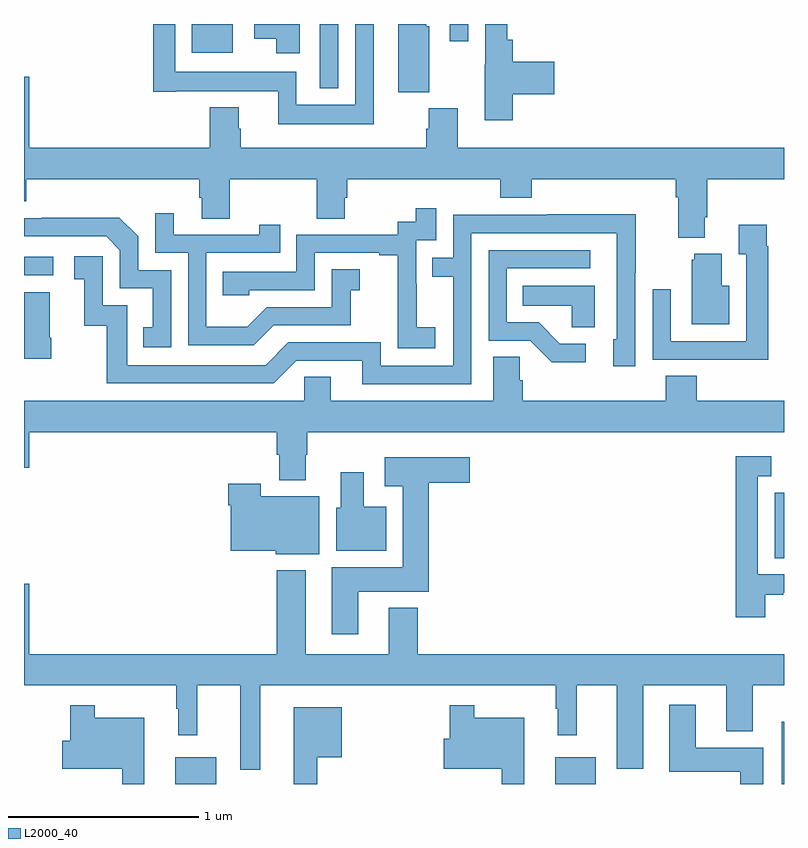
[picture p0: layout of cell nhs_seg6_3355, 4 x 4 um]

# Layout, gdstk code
import gdstk
lib = gdstk.Library(unit=1e-6, precision=1e-09)
def R(c, l, rs):  # rectangles x0, y0, x1, y1
    for r in rs: c.add(gdstk.rectangle(r[:2], r[2:], *l))
def P(c, l, *ps):  # polygons
    for p in ps: c.add(gdstk.Polygon(p, *l))
L2000_40 = (2000, 40)

nhs_seg6_3355 = lib.new_cell('nhs_seg6_3355')
R(nhs_seg6_3355, L2000_40, [(309.797,929.5,310.012,929.641), (311.795,929.5,312.01,929.641), (312.987,929.5,313,929.827), (312.95,930.688,313,931.032), (309,932.178,309.154,932.274), (310.557,933.161,310.653,933.5), (309.884,933.35,310.099,933.5), (311.241,933.408,311.337,933.5)])
P(nhs_seg6_3355, L2000_40, [(310.45,933.5),(310.211,933.5),(310.211,933.422),(310.328,933.422),(310.328,933.345),(310.45,933.345)],
  [(311.134,933.489),(311.116,933.489),(311.116,933.5),(310.97,933.5),(310.97,933.142),(311.134,933.142)],
  [(311.573,933.131),(311.791,933.131),(311.791,933.302),(311.573,933.302),(311.573,933.418),(311.543,933.418),(311.543,933.5),(311.427,933.5),(311.427,933.285),(311.426,933.285),(311.426,932.994),(311.573,932.994)],
  [(310.84,933.5),(310.743,933.5),(310.743,933.076),(310.434,933.076),(310.434,933.25),(309.795,933.25),(309.795,933.5),(309.679,933.5),(309.679,933.144),(309.802,933.144),(309.802,933.146),(310.337,933.146),(310.337,932.972),(310.84,932.972)],
  [(312.583,932.482),(312.596,932.482),(312.596,932.684),(313,932.684),(313,932.848),(311.282,932.848),(311.282,933.057),(311.129,933.057),(311.129,932.948),(311.117,932.948),(311.117,932.848),(310.142,932.848),(310.142,932.949),(310.129,932.949),(310.129,933.061),(309.977,933.061),(309.977,932.848),(309.028,932.848),(309.028,933.223),(309,933.223),(309,932.567),(309.011,932.567),(309.011,932.684),(309.923,932.684),(309.923,932.586),(309.935,932.586),(309.935,932.476),(310.083,932.476),(310.083,932.684),(310.54,932.684),(310.54,932.476),(310.687,932.476),(310.687,932.586),(310.7,932.586),(310.7,932.684),(311.507,932.684),(311.507,932.585),(311.672,932.585),(311.672,932.684),(312.431,932.684),(312.431,932.588),(312.443,932.588),(312.443,932.375),(312.583,932.375)],
  [(311.164,931.903),(311.066,931.903),(311.066,932.132),(311.064,932.132),(311.064,932.361),(311.169,932.361),(311.169,932.53),(311.061,932.53),(311.061,932.46),(310.968,932.46),(310.968,932.391),(310.434,932.391),(310.434,932.196),(310.045,932.196),(310.045,932.073),(310.185,932.073),(310.185,932.1),(310.53,932.1),(310.53,932.295),(310.871,932.295),(310.871,932.283),(310.967,932.283),(310.967,931.999),(310.966,931.999),(310.966,931.793),(311.164,931.793)],
  [(310.315,931.914),(310.719,931.914),(310.719,932.099),(310.768,932.099),(310.768,932.209),(310.62,932.209),(310.62,932.01),(310.278,932.01),(310.174,931.906),(309.96,931.906),(309.96,932.295),(310.349,932.295),(310.349,932.443),(310.238,932.443),(310.238,932.391),(309.787,932.391),(309.787,932.503),(309.69,932.503),(309.69,932.295),(309.864,932.295),(309.864,931.809),(310.21,931.809)],
  [(311.355,932.4),(312.12,932.4),(312.12,931.842),(312.101,931.842),(312.101,931.698),(312.216,931.698),(312.216,932.191),(312.219,932.191),(312.219,932.498),(311.755,932.498),(311.755,932.496),(311.259,932.496),(311.259,932.271),(311.149,932.271),(311.149,932.17),(311.259,932.17),(311.259,931.701),(310.878,931.701),(310.878,931.824),(310.392,931.824),(310.272,931.704),(309.543,931.704),(309.543,932.019),(309.414,932.019),(309.414,932.278),(309.264,932.278),(309.264,932.157),(309.317,932.157),(309.317,931.911),(309.435,931.911),(309.435,931.608),(310.314,931.608),(310.434,931.728),(310.781,931.728),(310.781,931.605),(311.355,931.605)],
  [(309.774,932.205),(309.6,932.205),(309.6,932.382),(309.502,932.48),(309.094,932.48),(309.094,932.478),(309,932.478),(309,932.382),(309.432,932.382),(309.504,932.31),(309.504,932.109),(309.677,932.109),(309.677,931.905),(309.628,931.905),(309.628,931.8),(309.774,931.8)],
  [(312.917,932.33),(312.91,932.33),(312.91,932.443),(312.761,932.443),(312.761,932.287),(312.801,932.287),(312.801,931.83),(312.405,931.83),(312.405,932.104),(312.309,932.104),(312.309,931.734),(312.625,931.734),(312.625,931.733),(312.917,931.733)],
  [(311.956,931.818),(311.821,931.818),(311.71,931.929),(311.541,931.929),(311.541,932.214),(311.98,932.214),(311.98,932.31),(311.445,932.31),(311.445,931.833),(311.664,931.833),(311.777,931.721),(311.956,931.721)],
  [(312.712,932.122),(312.673,932.122),(312.673,932.29),(312.527,932.29),(312.527,932.259),(312.515,932.259),(312.515,931.919),(312.712,931.919)],
  [(312.004,932.122),(311.626,932.122),(311.626,932.018),(311.883,932.018),(311.883,931.903),(312.004,931.903)],
  [(309.144,931.849),(309.136,931.849),(309.136,932.089),(309,932.089),(309,931.737),(309.144,931.737)],
  [(310.483,931.232),(310.491,931.232),(310.491,931.352),(313,931.352),(313,931.516),(312.542,931.516),(312.542,931.649),(312.377,931.649),(312.377,931.516),(311.624,931.516),(311.624,931.625),(311.61,931.625),(311.61,931.748),(311.471,931.748),(311.471,931.516),(310.615,931.516),(310.615,931.643),(310.476,931.643),(310.476,931.516),(309,931.516),(309,931.164),(309.028,931.164),(309.028,931.352),(310.331,931.352),(310.331,931.232),(310.343,931.232),(310.343,931.1),(310.483,931.1)],
  [(312.901,930.495),(312.997,930.495),(312.997,930.507),(313,930.507),(313,930.603),(312.861,930.603),(312.861,931.119),(312.934,931.119),(312.934,931.225),(312.745,931.225),(312.745,930.378),(312.901,930.378)],
  [(310.759,930.512),(311.129,930.512),(311.129,931.085),(311.347,931.085),(311.347,931.219),(310.899,931.219),(310.899,931.067),(310.994,931.067),(310.994,930.64),(310.619,930.64),(310.619,930.288),(310.759,930.288)],
  [(310.906,930.958),(310.789,930.958),(310.789,931.141),(310.667,931.141),(310.667,930.954),(310.643,930.954),(310.643,930.728),(310.906,930.728)],
  [(310.555,931.015),(310.246,931.015),(310.246,931.081),(310.076,931.081),(310.076,930.968),(310.088,930.968),(310.088,930.728),(310.326,930.728),(310.326,930.71),(310.555,930.71)],
  [(310.243,930.02),(311.799,930.02),(311.799,929.897),(311.81,929.897),(311.81,929.757),(311.909,929.757),(311.909,930.02),(312.119,930.02),(312.119,929.579),(312.259,929.579),(312.259,930.02),(312.695,930.02),(312.695,929.777),(312.835,929.777),(312.835,930.02),(313,930.02),(313,930.184),(311.072,930.184),(311.072,930.427),(310.919,930.427),(310.919,930.184),(310.483,930.184),(310.483,930.625),(310.331,930.625),(310.331,930.184),(309.028,930.184),(309.028,930.553),(309,930.553),(309,930.02),(309.801,930.02),(309.801,929.897),(309.812,929.897),(309.812,929.757),(309.912,929.757),(309.912,930.02),(310.139,930.02),(310.139,929.576),(310.243,929.576)],
  [(312.892,929.692),(312.535,929.692),(312.535,929.917),(312.395,929.917),(312.395,929.564),(312.77,929.564),(312.77,929.5),(312.892,929.5)],
  [(311.632,929.848),(311.371,929.848),(311.371,929.914),(311.242,929.914),(311.242,929.737),(311.208,929.737),(311.208,929.579),(311.515,929.579),(311.515,929.5),(311.632,929.5)],
  [(309.634,929.848),(309.373,929.848),(309.373,929.914),(309.244,929.914),(309.244,929.727),(309.2,929.727),(309.2,929.579),(309.517,929.579),(309.517,929.5),(309.634,929.5)],
  [(310.543,929.642),(310.672,929.642),(310.672,929.905),(310.421,929.905),(310.421,929.5),(310.543,929.5)])

lib.write_gds('nhs_seg6_3355.gds')
